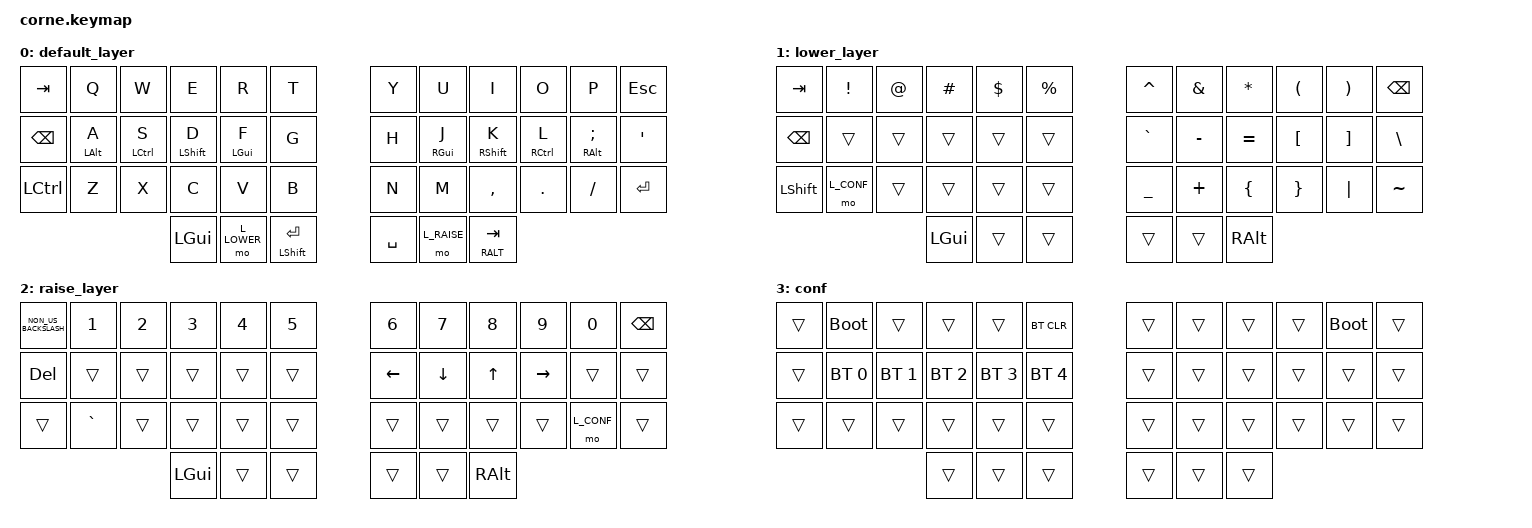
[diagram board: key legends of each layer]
/*
 * Copyright (c) 2020 The ZMK Contributors
 *
 * SPDX-License-Identifier: MIT
 */

#include <behaviors.dtsi>
#include <dt-bindings/zmk/keys.h>
#include <dt-bindings/zmk/bt.h>
#include "zmk-helpers/helper.h"
#include "zmk-helpers/key-labels/42.h"                                      // Source key-labels.

#define L_LOWER 1
#define L_RAISE 2
#define L_CONF 3

// urob timeless home mods
#define KEYS_L LT0 LT1 LT2 LT3 LT4 LT5 LM0 LM1 LM2 LM3 LM4 LM5 LB0 LB1 LB2 LB3 LB4 LB5  // Left-hand keys.
#define KEYS_R RT0 RT1 RT2 RT3 RT4 LT5 RM0 RM1 RM2 RM3 RM4 RM5 RB0 RB1 RB2 RB3 RB4 RB5  // Right-hand keys.
#define THUMBS LH2 LH1 LH0 RH0 RH1 RH2                                      // Thumb keys.

/* Left-hand HRMs. */
ZMK_HOLD_TAP(hml,
    flavor = "balanced";
    tapping-term-ms = <280>;
    quick-tap-ms = <175>;
    require-prior-idle-ms = <150>;
    bindings = <&kp>, <&kp>;
    hold-trigger-key-positions = <KEYS_R THUMBS>;
    hold-trigger-on-release;
)

/* Right-hand HRMs. */
ZMK_HOLD_TAP(hmr,
    flavor = "balanced";
    tapping-term-ms = <280>;
    quick-tap-ms = <175>;
    require-prior-idle-ms = <150>;
    bindings = <&kp>, <&kp>;
    hold-trigger-key-positions = <KEYS_L THUMBS>;
    hold-trigger-on-release;
)


&nice_view_spi {
        cs-gpios = <&pro_micro 8 GPIO_ACTIVE_HIGH>;
};

/ {
        keymap {
                compatible = "zmk,keymap";

                default_layer {
// -----------------------------------------------------------------------------------------
// |  TAB |  Q  |  W  |  E  |  R  |  T  |   |  Y  |  U   |  I  |  O  |  P  | ESC |
// | BSPC |  A  |  S  |  D  |  F  |  G  |   |  H  |  J   |  K  |  L  |  ;  |  '   |
// | LCTRL |  Z  |  X  |  C  |  V  |  B  |   |  N  |  M   |  ,  |  .  |  /  | RET  |
//                    | GUI | LWR | RET/shift |   | space | RSE  | ALT |
                        bindings = <
   &kp TAB   &kp Q &kp W &kp E &kp R &kp T   &kp Y &kp U  &kp I     &kp O   &kp P    &kp ESC
   &kp BSPC &hml LALT A &hml LCTRL S &hml LSHFT D &hml LGUI F &kp G   &kp H &hmr RGUI J  &hmr RSHFT K     &hmr RCTRL L   &hmr RALT SEMI &kp SQT
   &kp LCTRL &kp Z &kp X &kp C &kp V &kp B   &kp N &kp M  &kp COMMA &kp DOT &kp FSLH &kp RET
                  &kp LGUI &mo L_LOWER &mt LSHFT RET   &kp SPACE &mo L_RAISE &lt RALT TAB
                        >;
                };
                lower_layer {
// -----------------------------------------------------------------------------------------
// |  TAB |  !  |  @  |  #  |  $  |  %  |   |  ^  |  &  |  *  |  (  |  )  | BSPC |
// | BSPC |     |     |     |     |     |   | `   |  -  |  =  |  [  |  ]  |  \   |
// | SHFT |     |     |     |     |     |   |  _  |  +  |  {  |  }  | "|" |  ~   |
//                    | GUI |     | SPC |   | ENT |     | ALT |
                        bindings = <
   &kp  TAB  &kp EXCL &kp AT &kp HASH &kp DLLR &kp PRCNT   &kp CARET &kp AMPS  &kp ASTRK &kp LPAR &kp RPAR &kp BSPC
   &kp BSPC &trans   &trans &trans   &trans   &trans      &kp GRAVE &kp MINUS &kp EQUAL &kp LBKT  &kp RBKT &kp BSLH
   &kp LSHFT &mo L_CONF   &trans &trans   &trans   &trans      &kp UNDER &kp PLUS  &kp LBRC  &kp RBRC &kp PIPE &kp TILDE
                             &kp LGUI &trans   &trans   &trans   &trans    &kp RALT
                        >;
                };

                raise_layer {
// -----------------------------------------------------------------------------------------
// |  TAB |  1  |  2  |  3  |  4  |  5  |   |  6  |  7  |  8  |  9  |  0  | BSPC |
// | BTCLR| BT1 | BT2 | BT3 | BT4 | BT5 |   | LFT | DWN |  UP | RGT |     |      |
// | SHFT |     |     |     |     |     |   |     |     |     |     |     |      |
//                    | GUI |     | SPC |   | ENT |     | ALT |
                        bindings = <
   &kp NON_US_BACKSLASH    &kp N1       &kp N2       &kp N3       &kp N4       &kp N5         &kp N6   &kp N7   &kp N8 &kp N9    &kp N0 &kp BSPC
   &kp DEL &trans &trans &trans &trans &trans   &kp LEFT &kp DOWN &kp UP &kp RIGHT &trans &trans
   &trans  &kp GRAVE       &trans       &trans       &trans       &trans         &trans   &trans   &trans &trans    &mo L_CONF &trans
                                    &kp LGUI     &trans       &trans      &trans  &trans   &kp RALT
                        >;
                };
        conf {
            bindings = <
                &trans &bootloader &trans &trans &trans &bt BT_CLR &trans &trans &trans &trans &bootloader &trans
                &trans &bt BT_SEL 0 &bt BT_SEL 1 &bt BT_SEL 2 &bt BT_SEL 3 &bt BT_SEL 4 &trans &trans &trans &trans &trans &trans
                &trans &trans &trans &trans &trans &trans &trans &trans &trans &trans &trans &trans
                &trans &trans &trans &trans &trans &trans
            >;
        };
        };
};
